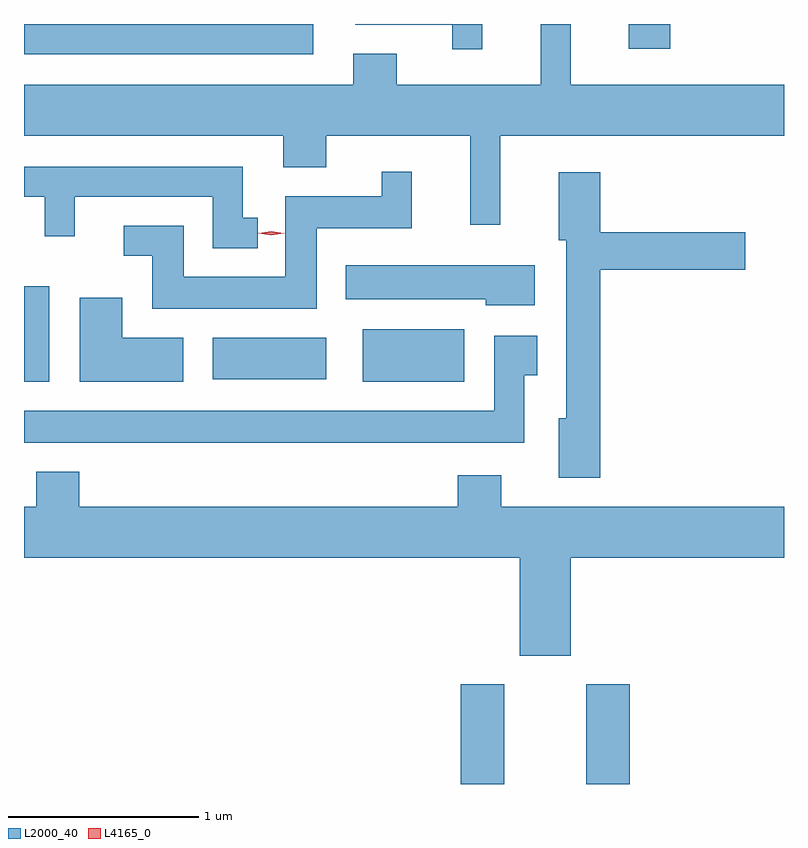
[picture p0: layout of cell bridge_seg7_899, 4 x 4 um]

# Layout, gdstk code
import gdstk
lib = gdstk.Library(unit=1e-6, precision=1e-09)
def R(c, l, rs):  # rectangles x0, y0, x1, y1
    for r in rs: c.add(gdstk.rectangle(r[:2], r[2:], *l))
def P(c, l, *ps):  # polygons
    for p in ps: c.add(gdstk.Polygon(p, *l))
L2000_40 = (2000, 40)
L4165_0 = (4165, 0)

bridge_seg7_899 = lib.new_cell('bridge_seg7_899')
R(bridge_seg7_899, L2000_40, [(552.576,1733.105,552.804,1733.629), (553.236,1733.105,553.464,1733.629), (550.277,1735.221,550.409,1735.724), (552.061,1735.221,552.594,1735.499), (551.271,1735.236,551.869,1735.454), (553.461,1736.976,553.679,1737.105)])
P(bridge_seg7_899, L2000_40, [(552.689,1737.105),(552.021,1737.105),(552.021,1737.101),(552.531,1737.101),(552.531,1736.973),(552.689,1736.973)],
  [(551.799,1737.105),(551.641,1737.105),(551.641,1737.104),(550.914,1737.104),(550.914,1737.105),(550.756,1737.105),(550.756,1737.104),(550.277,1737.104),(550.277,1736.946),(551.799,1736.946)],
  [(552.784,1736.516),(554.277,1736.516),(554.277,1736.784),(553.154,1736.784),(553.154,1737.105),(552.996,1737.105),(552.996,1736.784),(552.239,1736.784),(552.239,1736.949),(552.011,1736.949),(552.011,1736.784),(550.277,1736.784),(550.277,1736.516),(551.641,1736.516),(551.641,1736.351),(551.869,1736.351),(551.869,1736.516),(552.626,1736.516),(552.626,1736.048),(552.784,1736.048)],
  [(551.508,1736.084),(551.429,1736.084),(551.429,1736.354),(550.277,1736.354),(550.277,1736.196),(550.386,1736.196),(550.386,1735.988),(550.544,1735.988),(550.544,1736.196),(551.271,1736.196),(551.271,1735.926),(551.508,1735.926)],
  [(551.819,1736.031),(552.319,1736.031),(552.319,1736.328),(552.161,1736.328),(552.161,1736.199),(551.651,1736.199),(551.651,1735.774),(551.119,1735.774),(551.119,1736.044),(550.803,1736.044),(550.803,1735.886),(550.951,1735.886),(550.951,1735.606),(551.819,1735.606)],
  [(553.309,1735.811),(554.074,1735.811),(554.074,1736.009),(553.309,1736.009),(553.309,1736.324),(553.091,1736.324),(553.091,1735.966),(553.131,1735.966),(553.131,1735.029),(553.091,1735.029),(553.091,1734.716),(553.309,1734.716)],
  [(552.964,1735.834),(551.971,1735.834),(551.971,1735.656),(552.706,1735.656),(552.706,1735.626),(552.964,1735.626)],
  [(551.114,1735.454),(550.794,1735.454),(550.794,1735.664),(550.571,1735.664),(550.571,1735.221),(551.114,1735.221)],
  [(552.909,1735.256),(552.979,1735.256),(552.979,1735.464),(552.751,1735.464),(552.751,1735.069),(550.277,1735.069),(550.277,1734.901),(552.909,1734.901)],
  [(552.561,1734.729),(552.561,1734.564),(550.569,1734.564),(550.569,1734.749),(550.341,1734.749),(550.341,1734.564),(550.277,1734.564),(550.277,1734.296),(552.886,1734.296),(552.886,1733.781),(553.154,1733.781),(553.154,1734.296),(554.277,1734.296),(554.277,1734.564),(552.789,1734.564),(552.789,1734.729)])
P(bridge_seg7_899, L4165_0, [(551.578,1735.994),(551.509,1736.004),(551.509,1736.004),(551.509,1736.005),(551.578,1736.014),(551.648,1736.005),(551.648,1736.004),(551.648,1736.004)])

lib.write_gds('bridge_seg7_899.gds')
